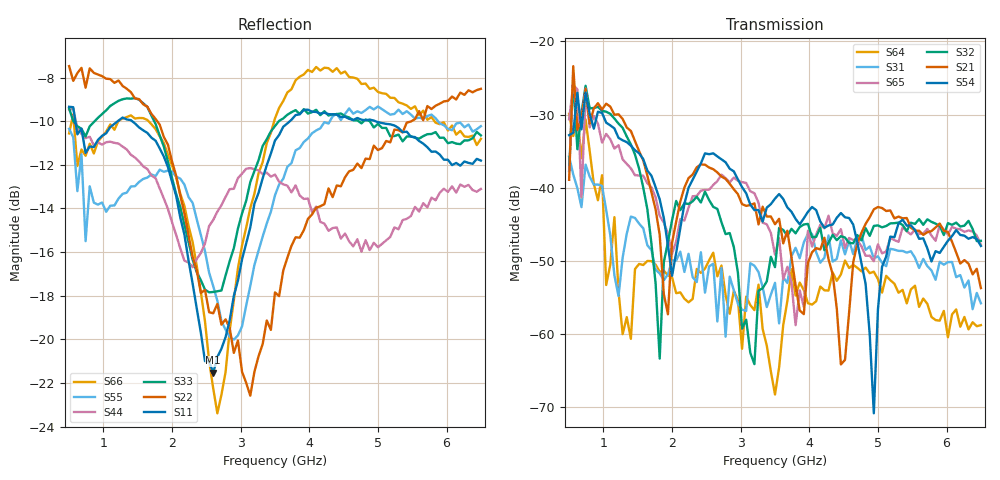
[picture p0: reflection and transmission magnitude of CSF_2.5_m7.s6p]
!Keysight Technologies,M9804A,MY58100912,A.14.10.03
!Date: Thursday, April 27, 2023 10:28:33
!Correction: S11(C  6-Port  )
!S12(C  6-Port  )
!S13(C  6-Port  )
!S14(C  6-Port  )
!S15(C  6-Port  )
!S16(C  6-Port  )
!S21(C  6-Port  )
!S22(C  6-Port  )
!S23(C  6-Port  )
!S24(C  6-Port  )
!S25(C  6-Port  )
!S26(C  6-Port  )
!S31(C  6-Port  )
!S32(C  6-Port  )
!S33(C  6-Port  )
!S34(C  6-Port  )
!S35(C  6-Port  )
!S36(C  6-Port  )
!S41(C  6-Port  )
!S42(C  6-Port  )
!S43(C  6-Port  )
!S44(C  6-Port  )
!S45(C  6-Port  )
!S46(C  6-Port  )
!S51(C  6-Port  )
!S52(C  6-Port  )
!S53(C  6-Port  )
!S54(C  6-Port  )
!S55(C  6-Port  )
!S56(C  6-Port  )
!S61(C  6-Port  )
!S62(C  6-Port  )
!S63(C  6-Port  )
!S64(C  6-Port  )
!S65(C  6-Port  )
!S66(C  6-Port  )
!S6P File: Measurement: :
# Hz S  RI  R 50
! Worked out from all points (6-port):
!   101 points, 500 MHz to 6.5 GHz, reference 50 ohm
!   strongest paths, dB at 500 MHz, 2 GHz, 3.5 GHz, 5 GHz, 6.5 GHz:
!     S54: -32.8, -52.0, -41.5, -56.6, -47.9
!     S21: -38.9, -47.5, -45.0, -42.6, -53.7
!     S32: -37.7, -44.4, -50.8, -45.1, -47.2
!     S65: -30.6, -49.0, -49.1, -47.7, -47.8
!     S31: -35.7, -49.9, -53.0, -49.4, -55.8
!     S64: -29.9, -52.2, -68.2, -52.5, -58.8
!   lowest |S11| = -21.5 dB at 2.6 GHz (marker M1), VSWR 1.18, Z = 42.5 + j2.04 ohm
!   |S11| at or under -10 dB: 590.9 MHz to 1.209 GHz (618.6 MHz wide, 68.7 % of centre); 1.419 GHz to 3.717 GHz (2.298 GHz wide, 89.5 % of centre); 4.963 GHz to end of sweep
